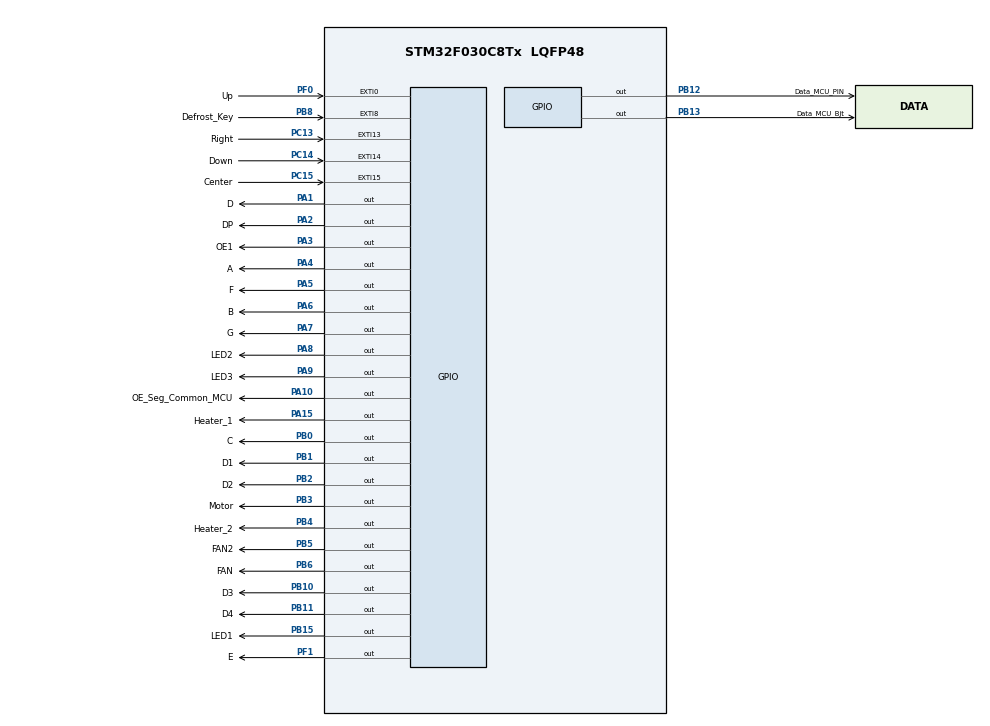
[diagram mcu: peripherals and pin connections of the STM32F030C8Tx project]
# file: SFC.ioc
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Mcu.Family=STM32F0
Mcu.Name=STM32F030C8Tx
Mcu.Package=LQFP48
PA1.GPIO_Label=D
PA1.Signal=GPIO_Output
PA10.GPIO_Label=OE_Seg_Common_MCU
PA10.Signal=GPIO_Output
PA13.Mode=Serial_Wire
PA13.Signal=SYS_SWDIO
PA14.Mode=Serial_Wire
PA14.Signal=SYS_SWCLK
PA15.GPIO_Label=Heater_1
PA15.Signal=GPIO_Output
PA2.GPIO_Label=DP
PA2.Signal=GPIO_Output
PA3.GPIO_Label=OE1
PA3.Signal=GPIO_Output
PA4.GPIO_Label=A
PA4.Signal=GPIO_Output
PA5.GPIO_Label=F
PA5.Signal=GPIO_Output
PA6.GPIO_Label=B
PA6.Signal=GPIO_Output
PA7.GPIO_Label=G
PA7.Signal=GPIO_Output
PA8.GPIO_Label=LED2
PA8.Signal=GPIO_Output
PA9.GPIO_Label=LED3
PA9.Signal=GPIO_Output
PB0.GPIO_Label=C
PB0.Signal=GPIO_Output
PB1.GPIO_Label=D1
PB1.Signal=GPIO_Output
PB10.GPIO_Label=D3
PB10.Signal=GPIO_Output
PB11.GPIO_Label=D4
PB11.Signal=GPIO_Output
PB12.GPIO_Label=Data_MCU_PIN
PB12.Signal=GPIO_Output
PB13.GPIO_Label=Data_MCU_Bjt
PB13.Signal=GPIO_Output
PB15.GPIO_Label=LED1
PB15.Signal=GPIO_Output
PB2.GPIO_Label=D2
PB2.Signal=GPIO_Output
PB3.GPIO_Label=Motor
PB3.Signal=GPIO_Output
PB4.GPIO_Label=Heater_2
PB4.Signal=GPIO_Output
PB5.GPIO_Label=FAN2
PB5.Signal=GPIO_Output
PB6.GPIO_Label=FAN
PB6.Signal=GPIO_Output
PB8.GPIO_Label=Defrost_Key
PB8.Signal=GPXTI8
PC13.GPIO_Label=Right
PC13.Signal=GPXTI13
PC14-OSC32_IN.GPIO_Label=Down
PC14-OSC32_IN.Signal=GPXTI14
PC15-OSC32_OUT.GPIO_Label=Center
PC15-OSC32_OUT.Signal=GPXTI15
PF0-OSC_IN.GPIO_Label=Up
PF0-OSC_IN.Signal=GPXTI0
PF1-OSC_OUT.GPIO_Label=E
PF1-OSC_OUT.Signal=GPIO_Output
ProjectManager.HeapSize=0x200
ProjectManager.StackSize=0x400
ProjectManager.TargetToolchain=STM32CubeIDE
board=custom

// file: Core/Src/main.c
/* USER CODE BEGIN Header */
/**
  ******************************************************************************
  * @file           : main.c
  * @brief          : Main program body
  ******************************************************************************
  * @attention
  *
  * <h2><center>&copy; Copyright (c) 2023 STMicroelectronics.
  * All rights reserved.</center></h2>
  *
  * This software component is licensed by ST under BSD 3-Clause license,
  * the "License"; You may not use this file except in compliance with the
  * License. You may obtain a copy of the License at:
  *                        opensource.org/licenses/BSD-3-Clause
  *
  ******************************************************************************
  */
/* USER CODE END Header */
#include "main.h"

void SystemClock_Config(void);
static void MX_GPIO_Init(void);

/* USER CODE BEGIN 0 */
typedef enum{
	d1,	d2, d3, d4
}Digit_Number;
void Set_7Seg(Digit_Number dn, uint8_t Number){
	HAL_GPIO_WritePin(D1_GPIO_Port, D1_Pin, 0);
	HAL_GPIO_WritePin(D2_GPIO_Port, D2_Pin, 0);
	HAL_GPIO_WritePin(D3_GPIO_Port, D3_Pin, 0);
	HAL_GPIO_WritePin(D4_GPIO_Port, D4_Pin, 0);

	switch (dn) {
		case d1:
			HAL_GPIO_WritePin(D1_GPIO_Port, D1_Pin, 1);
			HAL_GPIO_WritePin(D2_GPIO_Port, D2_Pin, 0);
			HAL_GPIO_WritePin(D3_GPIO_Port, D3_Pin, 0);
			HAL_GPIO_WritePin(D4_GPIO_Port, D4_Pin, 0);
			break;
		case d2:
			HAL_GPIO_WritePin(D1_GPIO_Port, D1_Pin, 0);
			HAL_GPIO_WritePin(D2_GPIO_Port, D2_Pin, 1);
			HAL_GPIO_WritePin(D3_GPIO_Port, D3_Pin, 0);
			HAL_GPIO_WritePin(D4_GPIO_Port, D4_Pin, 0);
			break;
		case d3:
			HAL_GPIO_WritePin(D1_GPIO_Port, D1_Pin, 0);
			HAL_GPIO_WritePin(D2_GPIO_Port, D2_Pin, 0);
			HAL_GPIO_WritePin(D3_GPIO_Port, D3_Pin, 1);
			HAL_GPIO_WritePin(D4_GPIO_Port, D4_Pin, 0);
			break;
		case d4:
			HAL_GPIO_WritePin(D1_GPIO_Port, D1_Pin, 0);
			HAL_GPIO_WritePin(D2_GPIO_Port, D2_Pin, 0);
			HAL_GPIO_WritePin(D3_GPIO_Port, D3_Pin, 0);
			HAL_GPIO_WritePin(D4_GPIO_Port, D4_Pin, 1);
			break;
		default:
			HAL_GPIO_WritePin(D1_GPIO_Port, D1_Pin, 0);
			HAL_GPIO_WritePin(D2_GPIO_Port, D2_Pin, 0);
			HAL_GPIO_WritePin(D3_GPIO_Port, D3_Pin, 0);
			HAL_GPIO_WritePin(D4_GPIO_Port, D4_Pin, 0);

			break;
	}
	switch (Number) {
	case 0:
		HAL_GPIO_WritePin(A_GPIO_Port,A_Pin, 0);
		HAL_GPIO_WritePin(B_GPIO_Port,B_Pin, 0);
		HAL_GPIO_WritePin(C_GPIO_Port,C_Pin, 0);
		HAL_GPIO_WritePin(D_GPIO_Port,D_Pin, 0);
		HAL_GPIO_WritePin(E_GPIO_Port,E_Pin, 0);
		HAL_GPIO_WritePin(F_GPIO_Port,F_Pin, 0);
		HAL_GPIO_WritePin(G_GPIO_Port,G_Pin, 1);
		break;
	case 1:
		  HAL_GPIO_WritePin(A_GPIO_Port,A_Pin, 1);
		  HAL_GPIO_WritePin(B_GPIO_Port,B_Pin, 0);
		  HAL_GPIO_WritePin(C_GPIO_Port,C_Pin, 0);
		  HAL_GPIO_WritePin(D_GPIO_Port,D_Pin, 1);
		  HAL_GPIO_WritePin(E_GPIO_Port,E_Pin, 1);
		  HAL_GPIO_WritePin(F_GPIO_Port,F_Pin, 1);
		  HAL_GPIO_WritePin(G_GPIO_Port,G_Pin, 1);
		break;
	case 2:
		  HAL_GPIO_WritePin(A_GPIO_Port,A_Pin, 0);
		  HAL_GPIO_WritePin(B_GPIO_Port,B_Pin, 0);
		  HAL_GPIO_WritePin(C_GPIO_Port,C_Pin, 1);
		  HAL_GPIO_WritePin(D_GPIO_Port,D_Pin, 0);
		  HAL_GPIO_WritePin(E_GPIO_Port,E_Pin, 0);
		  HAL_GPIO_WritePin(F_GPIO_Port,F_Pin, 1);
		  HAL_GPIO_WritePin(G_GPIO_Port,G_Pin, 0);
		break;
	case 3:
		  HAL_GPIO_WritePin(A_GPIO_Port,A_Pin, 0);
		  HAL_GPIO_WritePin(B_GPIO_Port,B_Pin, 0);
		  HAL_GPIO_WritePin(C_GPIO_Port,C_Pin, 0);
		  HAL_GPIO_WritePin(D_GPIO_Port,D_Pin, 0);
		  HAL_GPIO_WritePin(E_GPIO_Port,E_Pin, 1);
		  HAL_GPIO_WritePin(F_GPIO_Port,F_Pin, 1);
		  HAL_GPIO_WritePin(G_GPIO_Port,G_Pin, 0);
		break;
	case 4:
		  HAL_GPIO_WritePin(A_GPIO_Port,A_Pin, 1);
		  HAL_GPIO_WritePin(B_GPIO_Port,B_Pin, 0);
		  HAL_GPIO_WritePin(C_GPIO_Port,C_Pin, 0);
		  HAL_GPIO_WritePin(D_GPIO_Port,D_Pin, 1);
		  HAL_GPIO_WritePin(E_GPIO_Port,E_Pin, 1);
		  HAL_GPIO_WritePin(F_GPIO_Port,F_Pin, 0);
		  HAL_GPIO_WritePin(G_GPIO_Port,G_Pin, 0);
		break;
	case 5:
		  HAL_GPIO_WritePin(A_GPIO_Port,A_Pin, 0);
		  HAL_GPIO_WritePin(B_GPIO_Port,B_Pin, 1);
		  HAL_GPIO_WritePin(C_GPIO_Port,C_Pin, 0);
		  HAL_GPIO_WritePin(D_GPIO_Port,D_Pin, 0);
		  HAL_GPIO_WritePin(E_GPIO_Port,E_Pin, 1);
		  HAL_GPIO_WritePin(F_GPIO_Port,F_Pin, 0);
		  HAL_GPIO_WritePin(G_GPIO_Port,G_Pin, 0);
		break;
	case 6:
		  HAL_GPIO_WritePin(A_GPIO_Port,A_Pin, 1);
		  HAL_GPIO_WritePin(B_GPIO_Port,B_Pin, 1);
		  HAL_GPIO_WritePin(C_GPIO_Port,C_Pin, 0);
		  HAL_GPIO_WritePin(D_GPIO_Port,D_Pin, 0);
		  HAL_GPIO_WritePin(E_GPIO_Port,E_Pin, 0);
		  HAL_GPIO_WritePin(F_GPIO_Port,F_Pin, 0);
		  HAL_GPIO_WritePin(G_GPIO_Port,G_Pin, 0);
		break;
	case 7:
		  HAL_GPIO_WritePin(A_GPIO_Port,A_Pin, 0);
		  HAL_GPIO_WritePin(B_GPIO_Port,B_Pin, 0);
		  HAL_GPIO_WritePin(C_GPIO_Port,C_Pin, 0);
		  HAL_GPIO_WritePin(D_GPIO_Port,D_Pin, 1);
		  HAL_GPIO_WritePin(E_GPIO_Port,E_Pin, 1);
		  HAL_GPIO_WritePin(F_GPIO_Port,F_Pin, 1);
		  HAL_GPIO_WritePin(G_GPIO_Port,G_Pin, 1);
		break;
	case 8:
	   	  HAL_GPIO_WritePin(A_GPIO_Port,A_Pin, 0);
		  HAL_GPIO_WritePin(B_GPIO_Port,B_Pin, 0);
		  HAL_GPIO_WritePin(C_GPIO_Port,C_Pin, 0);
		  HAL_GPIO_WritePin(D_GPIO_Port,D_Pin, 0);
		  HAL_GPIO_WritePin(E_GPIO_Port,E_Pin, 0);
		  HAL_GPIO_WritePin(F_GPIO_Port,F_Pin, 0);
		  HAL_GPIO_WritePin(G_GPIO_Port,G_Pin, 0);
		break;
	case 9:
		  HAL_GPIO_WritePin(A_GPIO_Port,A_Pin, 0);
		  HAL_GPIO_WritePin(B_GPIO_Port,B_Pin, 0);
		  HAL_GPIO_WritePin(C_GPIO_Port,C_Pin, 0);
		  HAL_GPIO_WritePin(D_GPIO_Port,D_Pin, 1);
		  HAL_GPIO_WritePin(E_GPIO_Port,E_Pin, 1);
		  HAL_GPIO_WritePin(F_GPIO_Port,F_Pin, 0);
		  HAL_GPIO_WritePin(G_GPIO_Port,G_Pin, 0);
		break;

		default:
			  HAL_GPIO_WritePin(A_GPIO_Port, A_Pin, 1);
			  HAL_GPIO_WritePin(B_GPIO_Port, B_Pin, 1);
			  HAL_GPIO_WritePin(C_GPIO_Port, C_Pin, 1);
			  HAL_GPIO_WritePin(D_GPIO_Port, D_Pin, 1);
			  HAL_GPIO_WritePin(E_GPIO_Port, E_Pin, 1);
			  HAL_GPIO_WritePin(F_GPIO_Port, F_Pin, 1);
			  HAL_GPIO_WritePin(G_GPIO_Port, G_Pin, 1);
			break;
	}
}

/* USER CODE END 0 */

int main(void)
{

  /* MCU Configuration--------------------------------------------------------*/

  /* Reset of all peripherals, Initializes the Flash interface and the Systick. */
  HAL_Init();

  /* Configure the system clock */
  SystemClock_Config();

  /* Initialize all configured peripherals */
  MX_GPIO_Init();
  /* USER CODE BEGIN 2 */
  HAL_GPIO_WritePin(OE1_GPIO_Port, OE1_Pin, 0);
  HAL_GPIO_WritePin(OE_Seg_Common_MCU_GPIO_Port, OE_Seg_Common_MCU_Pin, 0);
  HAL_GPIO_WritePin(LED1_GPIO_Port, LED1_Pin, 1);
  HAL_GPIO_WritePin(D1_GPIO_Port, D1_Pin, 1);
  HAL_GPIO_WritePin(D2_GPIO_Port, D2_Pin, 1);
  HAL_GPIO_WritePin(D3_GPIO_Port, D3_Pin, 1);
  HAL_GPIO_WritePin(D4_GPIO_Port, D4_Pin, 1);
  HAL_GPIO_WritePin(Motor_GPIO_Port, Motor_Pin, 0);
  HAL_GPIO_WritePin(Heater_1_GPIO_Port, Heater_1_Pin, 0);
  HAL_GPIO_WritePin(Heater_2_GPIO_Port, Heater_2_Pin, 0);
  HAL_GPIO_WritePin(FAN2_GPIO_Port, FAN2_Pin, 0);
  HAL_GPIO_WritePin(FAN_GPIO_Port, FAN_Pin, 0);
  uint8_t x=0;
  /* USER CODE END 2 */

  /* Infinite loop */
  while (1)
  {

    /* USER CODE BEGIN 3 */
//	  Set_7Seg(d3, x);
//
//	  HAL_Delay(1000);
//	  x++;
//	  if(x==10)
//		  x=0;
  }
  /* USER CODE END 3 */
}

void SystemClock_Config(void)
{
  RCC_OscInitTypeDef RCC_OscInitStruct = {0};
  RCC_ClkInitTypeDef RCC_ClkInitStruct = {0};

  /** Initializes the RCC Oscillators according to the specified parameters
  * in the RCC_OscInitTypeDef structure.
  */
  RCC_OscInitStruct.OscillatorType = RCC_OSCILLATORTYPE_HSI;
  RCC_OscInitStruct.HSIState = RCC_HSI_ON;
  RCC_OscInitStruct.HSICalibrationValue = RCC_HSICALIBRATION_DEFAULT;
  RCC_OscInitStruct.PLL.PLLState = RCC_PLL_NONE;
  if (HAL_RCC_OscConfig(&RCC_OscInitStruct) != HAL_OK)
  {
    Error_Handler();
  }
  /** Initializes the CPU, AHB and APB buses clocks
  */
  RCC_ClkInitStruct.ClockType = RCC_CLOCKTYPE_HCLK|RCC_CLOCKTYPE_SYSCLK
                              |RCC_CLOCKTYPE_PCLK1;
  RCC_ClkInitStruct.SYSCLKSource = RCC_SYSCLKSOURCE_HSI;
  RCC_ClkInitStruct.AHBCLKDivider = RCC_SYSCLK_DIV1;
  RCC_ClkInitStruct.APB1CLKDivider = RCC_HCLK_DIV1;

  if (HAL_RCC_ClockConfig(&RCC_ClkInitStruct, FLASH_LATENCY_0) != HAL_OK)
  {
    Error_Handler();
  }
}

static void MX_GPIO_Init(void)
{
  GPIO_InitTypeDef GPIO_InitStruct = {0};

  /* GPIO Ports Clock Enable */
  __HAL_RCC_GPIOC_CLK_ENABLE();
  __HAL_RCC_GPIOF_CLK_ENABLE();
  __HAL_RCC_GPIOA_CLK_ENABLE();
  __HAL_RCC_GPIOB_CLK_ENABLE();

  /*Configure GPIO pin Output Level */
  HAL_GPIO_WritePin(E_GPIO_Port, E_Pin, GPIO_PIN_RESET);

  /*Configure GPIO pin Output Level */
  HAL_GPIO_WritePin(GPIOA, D_Pin|DP_Pin|OE1_Pin|A_Pin
                          |F_Pin|B_Pin|G_Pin|LED2_Pin
                          |LED3_Pin|OE_Seg_Common_MCU_Pin|Heater_1_Pin, GPIO_PIN_RESET);

  /*Configure GPIO pin Output Level */
  HAL_GPIO_WritePin(GPIOB, C_Pin|D1_Pin|D2_Pin|D3_Pin
                          |D4_Pin|Data_MCU_PIN_Pin|Data_MCU_Bjt_Pin|LED1_Pin
                          |Motor_Pin|Heater_2_Pin|FAN2_Pin|FAN_Pin, GPIO_PIN_RESET);

  /*Configure GPIO pins : Right_Pin Down_Pin Center_Pin */
  GPIO_InitStruct.Pin = Right_Pin|Down_Pin|Center_Pin;
  GPIO_InitStruct.Mode = GPIO_MODE_IT_RISING;
  GPIO_InitStruct.Pull = GPIO_NOPULL;
  HAL_GPIO_Init(GPIOC, &GPIO_InitStruct);

  /*Configure GPIO pin : Up_Pin */
  GPIO_InitStruct.Pin = Up_Pin;
  GPIO_InitStruct.Mode = GPIO_MODE_IT_RISING;
  GPIO_InitStruct.Pull = GPIO_NOPULL;
  HAL_GPIO_Init(Up_GPIO_Port, &GPIO_InitStruct);

  /*Configure GPIO pin : E_Pin */
  GPIO_InitStruct.Pin = E_Pin;
  GPIO_InitStruct.Mode = GPIO_MODE_OUTPUT_PP;
  GPIO_InitStruct.Pull = GPIO_NOPULL;
  GPIO_InitStruct.Speed = GPIO_SPEED_FREQ_LOW;
  HAL_GPIO_Init(E_GPIO_Port, &GPIO_InitStruct);

  /*Configure GPIO pins : D_Pin DP_Pin OE1_Pin A_Pin
                           F_Pin B_Pin G_Pin LED2_Pin
                           LED3_Pin OE_Seg_Common_MCU_Pin Heater_1_Pin */
  GPIO_InitStruct.Pin = D_Pin|DP_Pin|OE1_Pin|A_Pin
                          |F_Pin|B_Pin|G_Pin|LED2_Pin
                          |LED3_Pin|OE_Seg_Common_MCU_Pin|Heater_1_Pin;
  GPIO_InitStruct.Mode = GPIO_MODE_OUTPUT_PP;
  GPIO_InitStruct.Pull = GPIO_NOPULL;
  GPIO_InitStruct.Speed = GPIO_SPEED_FREQ_LOW;
  HAL_GPIO_Init(GPIOA, &GPIO_InitStruct);

  /*Configure GPIO pins : C_Pin D1_Pin D2_Pin D3_Pin
                           D4_Pin Data_MCU_PIN_Pin Data_MCU_Bjt_Pin LED1_Pin
                           Motor_Pin Heater_2_Pin FAN2_Pin FAN_Pin */
  GPIO_InitStruct.Pin = C_Pin|D1_Pin|D2_Pin|D3_Pin
                          |D4_Pin|Data_MCU_PIN_Pin|Data_MCU_Bjt_Pin|LED1_Pin
                          |Motor_Pin|Heater_2_Pin|FAN2_Pin|FAN_Pin;
  GPIO_InitStruct.Mode = GPIO_MODE_OUTPUT_PP;
  GPIO_InitStruct.Pull = GPIO_NOPULL;
  GPIO_InitStruct.Speed = GPIO_SPEED_FREQ_LOW;
  HAL_GPIO_Init(GPIOB, &GPIO_InitStruct);

  /*Configure GPIO pin : Defrost_Key_Pin */
  GPIO_InitStruct.Pin = Defrost_Key_Pin;
  GPIO_InitStruct.Mode = GPIO_MODE_IT_RISING;
  GPIO_InitStruct.Pull = GPIO_NOPULL;
  HAL_GPIO_Init(Defrost_Key_GPIO_Port, &GPIO_InitStruct);

}

void Error_Handler(void)
{
  __disable_irq();
  while (1)
  {
  }
}

/************************ (C) COPYRIGHT STMicroelectronics *****END OF FILE****/
